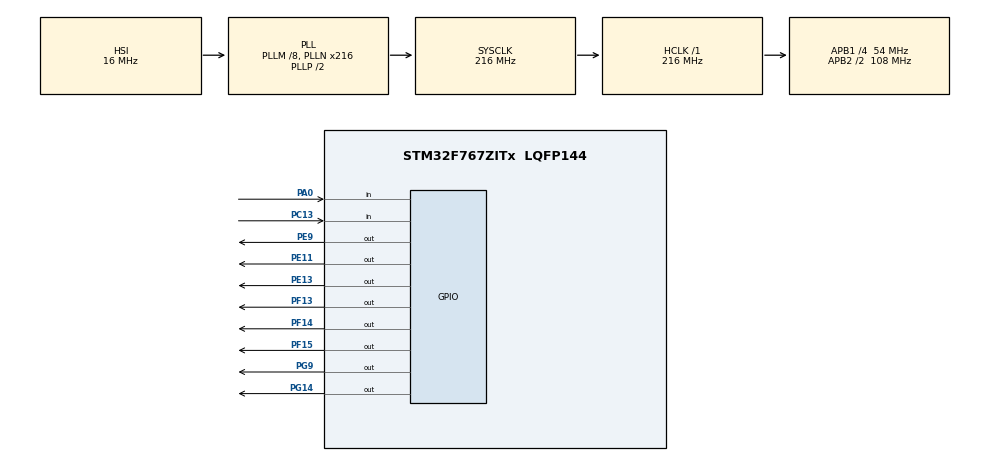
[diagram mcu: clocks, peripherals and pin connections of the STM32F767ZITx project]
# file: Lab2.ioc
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Mcu.Family=STM32F7
Mcu.Name=STM32F767ZITx
Mcu.Package=LQFP144
NVIC.PriorityGroup=NVIC_PRIORITYGROUP_4
PA0/WKUP.Signal=GPIO_Input
PC13.Signal=GPIO_Input
PE11.Signal=GPIO_Output
PE13.Signal=GPIO_Output
PE9.Signal=GPIO_Output
PF13.Signal=GPIO_Output
PF14.Signal=GPIO_Output
PF15.Signal=GPIO_Output
PG14.Signal=GPIO_Output
PG9.Signal=GPIO_Output
ProjectManager.HeapSize=0x200
ProjectManager.StackSize=0x400
ProjectManager.TargetToolchain=STM32CubeIDE
RCC.AHBFreq_Value=216000000
RCC.APB1CLKDivider=RCC_HCLK_DIV4
RCC.APB1Freq_Value=54000000
RCC.APB1TimFreq_Value=108000000
RCC.APB2CLKDivider=RCC_HCLK_DIV2
RCC.APB2Freq_Value=108000000
RCC.APB2TimFreq_Value=216000000
RCC.CortexFreq_Value=216000000
RCC.HCLKFreq_Value=216000000
RCC.HSE_VALUE=25000000
RCC.HSI_VALUE=16000000
RCC.LSE_VALUE=32768
RCC.PLLM=8
RCC.PLLN=216
RCC.SYSCLKFreq_VALUE=216000000
RCC.SYSCLKSource=RCC_SYSCLKSOURCE_PLLCLK
RCC.USBFreq_Value=216000000
RCC.VCOOutputFreq_Value=432000000
board=custom

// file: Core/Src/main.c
/* USER CODE BEGIN Header */
/**
  ******************************************************************************
  * @file           : main.c
  * @brief          : Main program body
  ******************************************************************************
  * @attention
  *
  * Copyright (c) 2023 STMicroelectronics.
  * All rights reserved.
  *
  * This software is licensed under terms that can be found in the LICENSE file
  * in the root directory of this software component.
  * If no LICENSE file comes with this software, it is provided AS-IS.
  *
  ******************************************************************************
  */
/* USER CODE END Header */
#include "main.h"
#include "gpio.h"

/* USER CODE BEGIN PV */
int b=0;
i=0;
Cou=0;
/* USER CODE END PV */

void SystemClock_Config(void);
static void MPU_Initialize(void);
static void MPU_Config(void);

int main(void)
{

  /* MCU Configuration--------------------------------------------------------*/

  /* Reset of all peripherals, Initializes the Flash interface and the Systick. */
  HAL_Init();

  /* MPU Configuration--------------------------------------------------------*/
  MPU_Config();

  /* Configure the system clock */
  SystemClock_Config();

  /* Initialize all configured peripherals */
  MX_GPIO_Init();

  /* Infinite loop */
  while (1)
  {

    /* USER CODE BEGIN 3 */
	  if(HAL_GPIO_ReadPin(GPIOA,GPIO_PIN_0)==GPIO_PIN_RESET){
			  	 if(b==0){
			  		 HAL_GPIO_WritePin(GPIOF,GPIO_PIN_13,GPIO_PIN_SET);
			  		 HAL_Delay(500);
			  	 }
		  		 i=Cou;
		  		 do{

		  			 switch(i){
		  			 case 0:
		  				if(b==1)HAL_GPIO_WritePin(GPIOF,GPIO_PIN_13,GPIO_PIN_SET);
		  				HAL_GPIO_WritePin(GPIOG,GPIO_PIN_9,GPIO_PIN_RESET);
		  				break;
		  			 case 1:
		  				HAL_GPIO_WritePin(GPIOG,GPIO_PIN_9,GPIO_PIN_SET);
		  				HAL_GPIO_WritePin(GPIOG,GPIO_PIN_14,GPIO_PIN_RESET);
		  				break;
		  			 case 2:
		  				HAL_GPIO_WritePin(GPIOG,GPIO_PIN_14,GPIO_PIN_SET);
		  				HAL_GPIO_WritePin(GPIOF,GPIO_PIN_15,GPIO_PIN_RESET);
		  				break;
		  			 case 3:
		  				HAL_GPIO_WritePin(GPIOF,GPIO_PIN_15,GPIO_PIN_SET);
		  				HAL_GPIO_WritePin(GPIOE,GPIO_PIN_13,GPIO_PIN_RESET);
		  				break;
		  			 case 4:
		  				HAL_GPIO_WritePin(GPIOE,GPIO_PIN_13,GPIO_PIN_SET);
		  				HAL_GPIO_WritePin(GPIOF,GPIO_PIN_14,GPIO_PIN_RESET);
		  				break;
		  			 case 5:
		  				HAL_GPIO_WritePin(GPIOF,GPIO_PIN_14,GPIO_PIN_SET);
		  				HAL_GPIO_WritePin(GPIOE,GPIO_PIN_11,GPIO_PIN_RESET);
		  				break;
		  			 case 6:
		  				HAL_GPIO_WritePin(GPIOE,GPIO_PIN_11,GPIO_PIN_SET);
		  				HAL_GPIO_WritePin(GPIOE,GPIO_PIN_9,GPIO_PIN_RESET);
		  				break;
		  			 case 7:
		  				HAL_GPIO_WritePin(GPIOE,GPIO_PIN_9,GPIO_PIN_SET);
		  				HAL_GPIO_WritePin(GPIOF,GPIO_PIN_13,GPIO_PIN_RESET);
		  				break;
		  			 }
		  			 HAL_Delay(500);
		  			i=i-1;
		  			if(i<0)i=7;
		  		 }while(i!=Cou);
		  		if(b==0){
		  			HAL_GPIO_WritePin(GPIOF,GPIO_PIN_13,GPIO_PIN_RESET);
		  		}
		  }
		  if(HAL_GPIO_ReadPin(GPIOC,GPIO_PIN_13)==GPIO_PIN_SET){
		  		  Cou=(Cou+1)%8;
		  		  b=1;
		  		  switch(Cou){
		  		  case 0:
		  			  HAL_GPIO_WritePin(GPIOF,GPIO_PIN_13,GPIO_PIN_RESET);
		  			  HAL_GPIO_WritePin(GPIOG,GPIO_PIN_9,GPIO_PIN_SET);
		  			  break;
		  		  case 1:
		  			  HAL_GPIO_WritePin(GPIOG,GPIO_PIN_9,GPIO_PIN_RESET);
		  			  HAL_GPIO_WritePin(GPIOG,GPIO_PIN_14,GPIO_PIN_SET);
		  			  break;
		  		  case 2:
		  			  HAL_GPIO_WritePin(GPIOG,GPIO_PIN_14,GPIO_PIN_RESET);
		  			  HAL_GPIO_WritePin(GPIOF,GPIO_PIN_15,GPIO_PIN_SET);
		  			  break;
		  		  case 3:
		  			  HAL_GPIO_WritePin(GPIOF,GPIO_PIN_15,GPIO_PIN_RESET);
		  			  HAL_GPIO_WritePin(GPIOE,GPIO_PIN_13,GPIO_PIN_SET);
		  			  break;
		  		  case 4:
		  			  HAL_GPIO_WritePin(GPIOE,GPIO_PIN_13,GPIO_PIN_RESET);
		  			  HAL_GPIO_WritePin(GPIOF,GPIO_PIN_14,GPIO_PIN_SET);
		  			  break;
		  		  case 5:
		  			  HAL_GPIO_WritePin(GPIOF,GPIO_PIN_14,GPIO_PIN_RESET);
		  			  HAL_GPIO_WritePin(GPIOE,GPIO_PIN_11,GPIO_PIN_SET);
		  			  break;
		  		  case 6:
		  			  HAL_GPIO_WritePin(GPIOE,GPIO_PIN_11,GPIO_PIN_RESET);
		  			  HAL_GPIO_WritePin(GPIOE,GPIO_PIN_9,GPIO_PIN_SET);
		  			  break;
		  		  case 7:
		  			  HAL_GPIO_WritePin(GPIOE,GPIO_PIN_9,GPIO_PIN_RESET);
		  			  HAL_GPIO_WritePin(GPIOF,GPIO_PIN_13,GPIO_PIN_SET);
		  			  break;
		  		  }
		  		  HAL_Delay(250);
		  	  }
	  }
  /* USER CODE END 3 */
}

void SystemClock_Config(void)
{
  RCC_OscInitTypeDef RCC_OscInitStruct = {0};
  RCC_ClkInitTypeDef RCC_ClkInitStruct = {0};

  /** Configure the main internal regulator output voltage
  */
  __HAL_RCC_PWR_CLK_ENABLE();
  __HAL_PWR_VOLTAGESCALING_CONFIG(PWR_REGULATOR_VOLTAGE_SCALE1);

  /** Initializes the RCC Oscillators according to the specified parameters
  * in the RCC_OscInitTypeDef structure.
  */
  RCC_OscInitStruct.OscillatorType = RCC_OSCILLATORTYPE_HSI;
  RCC_OscInitStruct.HSIState = RCC_HSI_ON;
  RCC_OscInitStruct.HSICalibrationValue = RCC_HSICALIBRATION_DEFAULT;
  RCC_OscInitStruct.PLL.PLLState = RCC_PLL_ON;
  RCC_OscInitStruct.PLL.PLLSource = RCC_PLLSOURCE_HSI;
  RCC_OscInitStruct.PLL.PLLM = 8;
  RCC_OscInitStruct.PLL.PLLN = 216;
  RCC_OscInitStruct.PLL.PLLP = RCC_PLLP_DIV2;
  RCC_OscInitStruct.PLL.PLLQ = 2;
  RCC_OscInitStruct.PLL.PLLR = 2;
  if (HAL_RCC_OscConfig(&RCC_OscInitStruct) != HAL_OK)
  {
    Error_Handler();
  }

  /** Activate the Over-Drive mode
  */
  if (HAL_PWREx_EnableOverDrive() != HAL_OK)
  {
    Error_Handler();
  }

  /** Initializes the CPU, AHB and APB buses clocks
  */
  RCC_ClkInitStruct.ClockType = RCC_CLOCKTYPE_HCLK|RCC_CLOCKTYPE_SYSCLK
                              |RCC_CLOCKTYPE_PCLK1|RCC_CLOCKTYPE_PCLK2;
  RCC_ClkInitStruct.SYSCLKSource = RCC_SYSCLKSOURCE_PLLCLK;
  RCC_ClkInitStruct.AHBCLKDivider = RCC_SYSCLK_DIV1;
  RCC_ClkInitStruct.APB1CLKDivider = RCC_HCLK_DIV4;
  RCC_ClkInitStruct.APB2CLKDivider = RCC_HCLK_DIV2;

  if (HAL_RCC_ClockConfig(&RCC_ClkInitStruct, FLASH_LATENCY_7) != HAL_OK)
  {
    Error_Handler();
  }
}

/* MPU Configuration */

void MPU_Config(void)
{
  MPU_Region_InitTypeDef MPU_InitStruct = {0};

  /* Disables the MPU */
  HAL_MPU_Disable();

  /** Initializes and configures the Region and the memory to be protected
  */
  MPU_InitStruct.Enable = MPU_REGION_ENABLE;
  MPU_InitStruct.Number = MPU_REGION_NUMBER0;
  MPU_InitStruct.BaseAddress = 0x0;
  MPU_InitStruct.Size = MPU_REGION_SIZE_4GB;
  MPU_InitStruct.SubRegionDisable = 0x87;
  MPU_InitStruct.TypeExtField = MPU_TEX_LEVEL0;
  MPU_InitStruct.AccessPermission = MPU_REGION_NO_ACCESS;
  MPU_InitStruct.DisableExec = MPU_INSTRUCTION_ACCESS_DISABLE;
  MPU_InitStruct.IsShareable = MPU_ACCESS_SHAREABLE;
  MPU_InitStruct.IsCacheable = MPU_ACCESS_NOT_CACHEABLE;
  MPU_InitStruct.IsBufferable = MPU_ACCESS_NOT_BUFFERABLE;

  HAL_MPU_ConfigRegion(&MPU_InitStruct);
  /* Enables the MPU */
  HAL_MPU_Enable(MPU_PRIVILEGED_DEFAULT);

}

void Error_Handler(void)
{
  __disable_irq();
  while (1)
  {
  }
}
